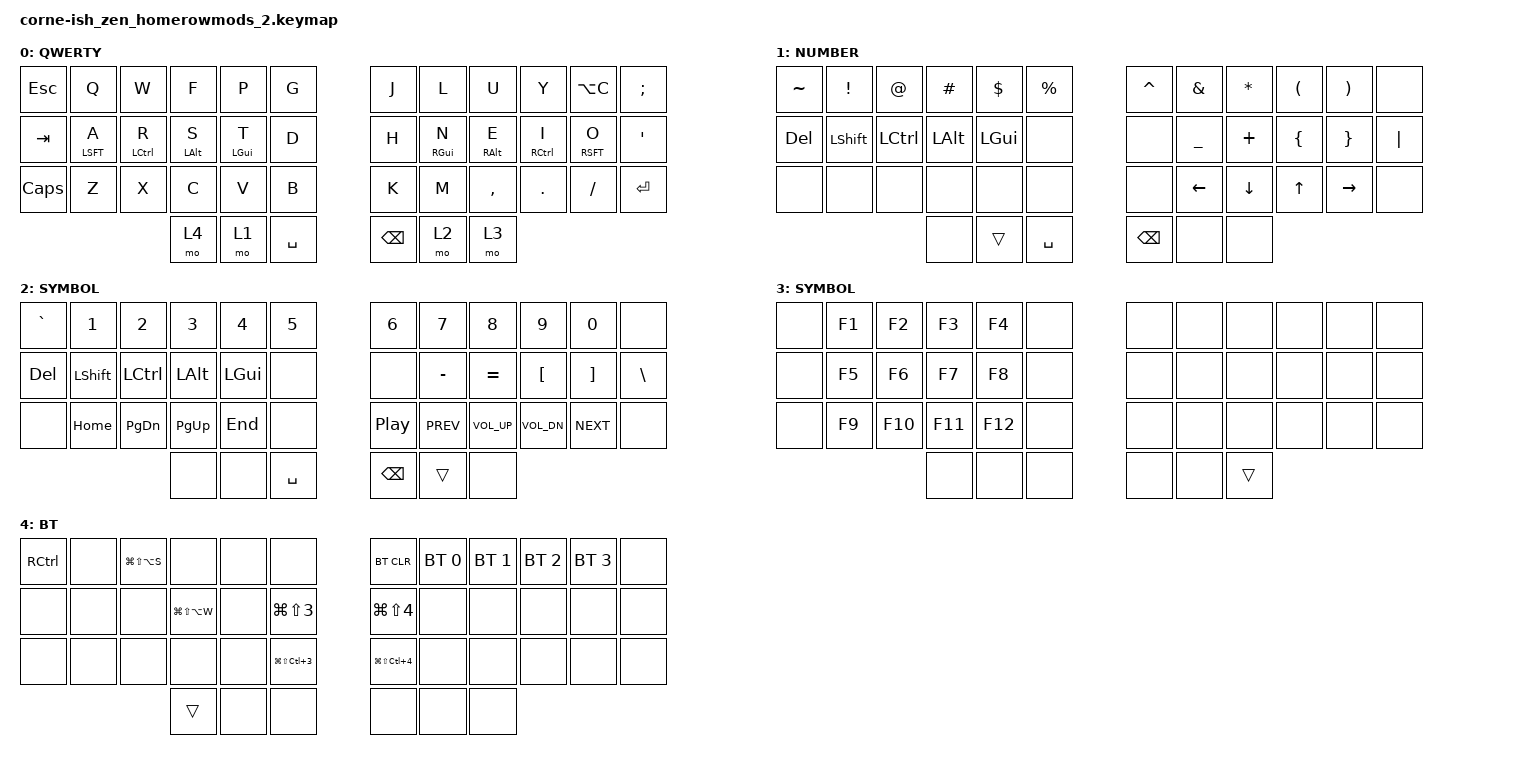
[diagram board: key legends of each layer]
/*
*
* Copyright (c) 2021 Darryl deHaan
* SPDX-License-Identifier: MIT
*
*/

#include <behaviors.dtsi>
#include <dt-bindings/zmk/keys.h>
#include <dt-bindings/zmk/bt.h>

#define PRINT_1    LG(LS(N3))
#define PRINT_2    LG(LS(N4))
#define PRINT_3    LG(LS(LC(N3)))
#define PRINT_4    LG(LS(LC(N4)))
#define EXP_AS     LG(LS(LA(W)))
#define EXP_WEB    LG(LS(LA(S)))
#define BRCCED     LA(C)

/ {
    behaviors {
        lh_pht: left_hand_positional_hold_tap {
            compatible = "zmk,behavior-hold-tap";
            label = "LEFT_POSITIONAL_HOLD_TAP";
            #binding-cells = <2>;
            flavor = "tap-unless-interrupted";
            tapping-term-ms = <100>;                        // <---[[produces tap if held longer than tapping-term-ms]]
            quick-tap-ms = <200>;
            bindings = <&kp>, <&kp>;
            hold-trigger-key-positions = <6 7 8 9 10 11 18 19 20 21 22 23 30 31 32 33 34 35 39 40 41>;    // <---[[right-hand keys]]
        };
    };

    / {
    behaviors {
        rh_pht: right_hand_positional_hold_tap {
            compatible = "zmk,behavior-hold-tap";
            label = "RIGHT_POSITIONAL_HOLD_TAP";
            #binding-cells = <2>;
            flavor = "tap-unless-interrupted";
            tapping-term-ms = <100>;                        // <---[[produces tap if held longer than tapping-term-ms]]
            quick-tap-ms = <200>;
            bindings = <&kp>, <&kp>;
            hold-trigger-key-positions = <0 1 2 3 4 5 12 13 141 15 16 17 24 25 26 27 28 29 36 37 38>;    // <---[left-hand keys]]
          };
       };
    };
  
  
/ {
        keymap {
                compatible = "zmk,keymap";

                default_layer {
                        label = "QWERTY";
                        bindings = <

   &kp ESC          &kp Q              &kp W              &kp F              &kp P              &kp G                 &kp J          &kp L              &kp U              &kp Y              &kp BRCCED            &kp SEMI
   &kp TAB          &lh_pht LSFT A     &lh_pht LCTL R     &lh_pht LALT S     &lh_pht LGUI T     &kp D                 &kp H          &rh_pht RGUI N     &rh_pht RALT E     &rh_pht RCTL I     &rh_pht RSFT O        &kp SQT
   &kp CAPS         &kp Z              &kp X              &kp C              &kp V              &kp B                 &kp K          &kp M              &kp COMMA          &kp DOT            &kp FSLH              &kp ENTER
                                                          &mo 4              &mo 1              &kp SPACE             &kp BSPC       &mo 2              &mo 3
                        >;
                };

                lower_layer {
                        label = "NUMBER";
                        bindings = <

   &kp TILDE        &kp EXCL       &kp AT         &kp HASH       &kp DLLR       &kp PRCNT                             &kp CARET      &kp AMPS       &kp ASTRK      &kp LPAR        &kp RPAR        &none
   &kp DEL          &kp LSHFT      &kp LCTL       &kp LALT       &kp LGUI       &none                                 &none          &kp UNDER      &kp PLUS       &kp LBRC        &kp RBRC        &kp PIPE
   &none            &none          &none          &none          &none          &none                                 &none          &kp LEFT       &kp DOWN       &kp UP          &kp RIGHT       &none
                                                  &none          &trans         &kp SPACE                             &kp BSPC       &none          &none 
                        >;
                };

                raise_layer {
                        label = "SYMBOL";
                        bindings = <

   &kp GRAVE        &kp N1         &kp N2         &kp N3         &kp N4         &kp N5                                &kp N6         &kp N7         &kp N8         &kp N9          &kp N0          &none
   &kp DEL          &kp LSHFT      &kp LCTL       &kp LALT       &kp LGUI       &none                                 &none          &kp MINUS      &kp EQUAL      &kp LBKT        &kp RBKT        &kp BSLH
   &none            &kp HOME       &kp PG_DN      &kp PG_UP      &kp END        &none                                 &kp C_PP       &kp C_PREV     &kp C_VOL_UP   &kp C_VOL_DN    &kp C_NEXT      &none
                                                  &none          &none          &kp SPACE                             &kp BSPC       &trans         &none
                        >;
                };

                fn_layer {
                        label = "SYMBOL";
                        bindings = <

   &none            &kp F1         &kp F2         &kp F3         &kp F4         &none                                 &none          &none          &none          &none           &none           &none
   &none            &kp F5         &kp F6         &kp F7         &kp F8         &none                                 &none          &none          &none          &none           &none           &none
   &none            &kp F9         &kp F10        &kp F11        &kp F12        &none                                 &none          &none          &none          &none           &none           &none
                                                  &none          &none          &none                                 &none          &none          &trans  
                        >;
                };

                BT_layer {
                        label = "BT";
                        bindings = <

   &kp RCTL         &none          &kp EXP_WEB    &none          &none          &none                                 &bt BT_CLR     &bt BT_SEL 0   &bt BT_SEL 1   &bt BT_SEL 2    &bt BT_SEL 3    &none
   &none            &none          &none          &kp EXP_AS     &none          &kp PRINT_1                           &kp PRINT_2    &none          &none           &none           &none          &none
   &none            &none          &none          &none          &none          &kp PRINT_3                           &kp PRINT_4    &none          &none           &none           &none          &none
                                                  &trans         &none          &none                                 &none          &none          &none
                        >;
                 };
};
